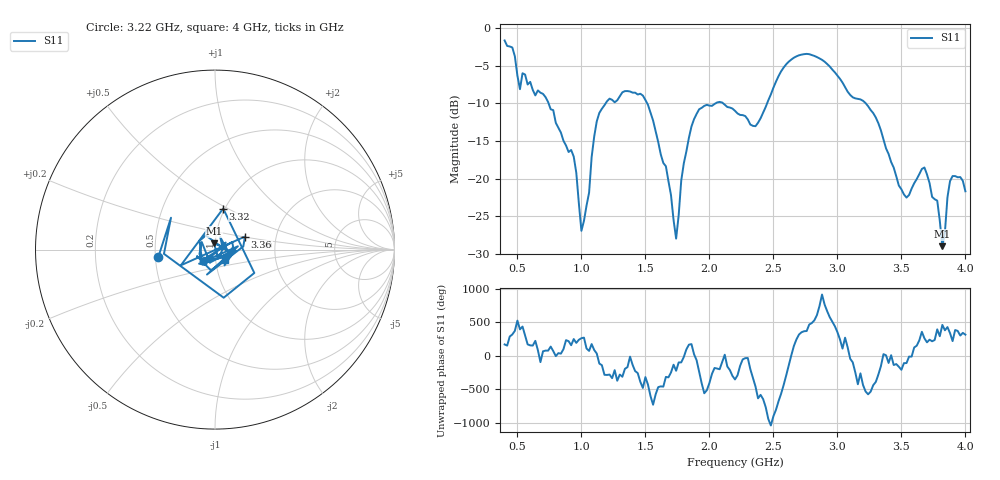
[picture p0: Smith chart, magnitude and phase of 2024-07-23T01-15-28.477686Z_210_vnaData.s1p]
!Created with skrf (http://scikit-rf.org).
# Hz S RI R 50.0
!freq ReS11 ImS11
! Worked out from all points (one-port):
!   181 points, 400 MHz to 4 GHz, reference 50 ohm
!   lowest |S11| = -28.9 dB at 3.82 GHz (marker M1), VSWR 1.07, Z = 49.3 + j3.47 ohm
!   |S11| at or under -10 dB: 743.5 MHz to 1.189 GHz (446 MHz wide, 46.1 % of centre); 1.514 GHz to 2.048 GHz (534.4 MHz wide, 30 % of centre); 3.222 GHz to end of sweep (the widest 3 of 4)
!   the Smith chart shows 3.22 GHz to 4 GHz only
!   S11 on the Smith chart (normalised r, x): 3.22 GHz: 0.52, -0.05; 3.32 GHz: 0.98, +0.48; 3.36 GHz: 1.38, +0.21; 4 GHz: 1.11, -0.13
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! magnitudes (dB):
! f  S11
! 400 MHz  -1.7
! 460 MHz  -2.6
! 520 MHz  -8.1
! 700 MHz  -8.7
! 860 MHz  -15.0
! 940 MHz  -17.1
! 1 GHz  -26.9
! 1.12 GHz  -12.4
! 1.3 GHz  -9.1
! 1.52 GHz  -10.2
! 1.66 GHz  -18.3
! 1.74 GHz  -27.9
! 1.76 GHz  -24.8
! 1.8 GHz  -18.0
! 1.9 GHz  -11.4
! 2.2 GHz  -11.0
! 2.36 GHz  -13.0
! 2.66 GHz  -4.0
! 3.1 GHz  -8.9
! 3.22 GHz  -10.0
! 3.32 GHz  -12.6
! 3.36 GHz  -14.8
! 3.56 GHz  -22.1
! 3.68 GHz  -18.5
! 3.78 GHz  -22.9
! 3.82 GHz  -28.9
! 3.88 GHz  -20.3
! 4 GHz  -21.7
